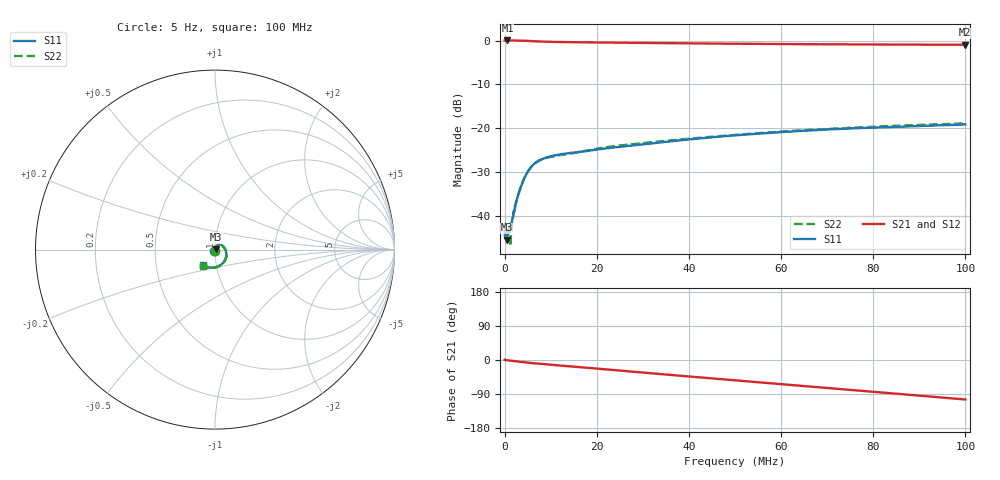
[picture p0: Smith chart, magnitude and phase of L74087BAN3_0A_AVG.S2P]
!Agilent Technologies,E5061B,MY49102235,A.02.00
!Date: Tue Jul 11 15:14:59 2023
!Data & Calibration Information:
!Freq	S11:SOLT2(ON)	S21:SOLT2(ON)	S12:SOLT2(ON)	S22:SOLT2(ON)
# Hz S RI R 50
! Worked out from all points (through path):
!   1600 points, 5 Hz to 100 MHz, reference 50 ohm
!   highest |S21| = 0.02 dB at 625.4 kHz (marker M1); lowest = -1.0 dB at 99.81 MHz (marker M2)
!   group delay of S21, straight-line fit = 2.84 ns
!   lowest |S11| = -45.4 dB at 500.3 kHz (marker M3), VSWR 1.01, Z = 50.5 + j0.267 ohm
!   |S11| at or under -10 dB: start of sweep to end of sweep
!   |S22| runs from -46.9 to -18.9 dB; largest |S21 - S12| = 0.0026
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5  -0.00527 -0.00564  1.002 0.00801  1 0.0102  -0.0015 -0.00755
500317.7  0.00467 0.00265  1.001 -0.0109  1.002 -0.0107  0.0049 0.00105
625395.8  0.00521 0.00324  1.002 -0.0144  1.002 -0.0138  0.00625 0.00284
938091.3  0.00463 0.00541  1.001 -0.0208  1.001 -0.0205  0.00619 0.00482
1313326  0.00499 0.00598  1.001 -0.0295  1.001 -0.0298  0.00318 0.00442
1688560  0.00457 0.0079  0.9999 -0.0398  1.001 -0.0399  0.00429 0.00707
2063795  0.00419 0.0107  1 -0.0492  0.9998 -0.0495  0.00461 0.0105
2376490  0.00476 0.0124  0.9984 -0.0565  0.9989 -0.0569  0.00543 0.0127
2939342  0.00686 0.0159  0.9971 -0.0707  0.9966 -0.0708  0.00582 0.0163
3502194  0.0087 0.0193  0.9944 -0.0848  0.9943 -0.0846  0.00781 0.0199
4627897  0.0147 0.0255  0.987 -0.1119  0.9867 -0.1117  0.0143 0.0259
5878679  0.0235 0.0283  0.9758 -0.1386  0.9757 -0.1386  0.0231 0.0285
7504695  0.0334 0.0268  0.9616 -0.1676  0.9614 -0.1677  0.0332 0.0274
9380868  0.041 0.0225  0.9481 -0.1986  0.9478 -0.1984  0.0406 0.0226
1.669794e7  0.0536 0.00618  0.9005 -0.3145  0.9003 -0.3142  0.0535 0.00593
2.320201e7  0.0595 -0.00535  0.8511 -0.4153  0.8511 -0.4153  0.0615 -0.00681
3.333334e7  0.0631 -0.0266  0.7518 -0.5577  0.7517 -0.5574  0.0644 -0.0282
5.003127e7  0.0519 -0.0647  0.5452 -0.741  0.5451 -0.7408  0.0518 -0.0663
6.672921e7  0.0173 -0.0931  0.3026 -0.8562  0.3028 -0.8561  0.0179 -0.0943
8.33646e7  -0.0252 -0.0999  0.0424 -0.8996  0.0424 -0.8996  -0.0251 -0.1026
9.981238e7  -0.0665 -0.0881  -0.2174 -0.8688  -0.2173 -0.8689  -0.067 -0.0911
1e8  -0.067 -0.088  -0.2204 -0.8681  -0.2203 -0.8681  -0.0674 -0.0911
